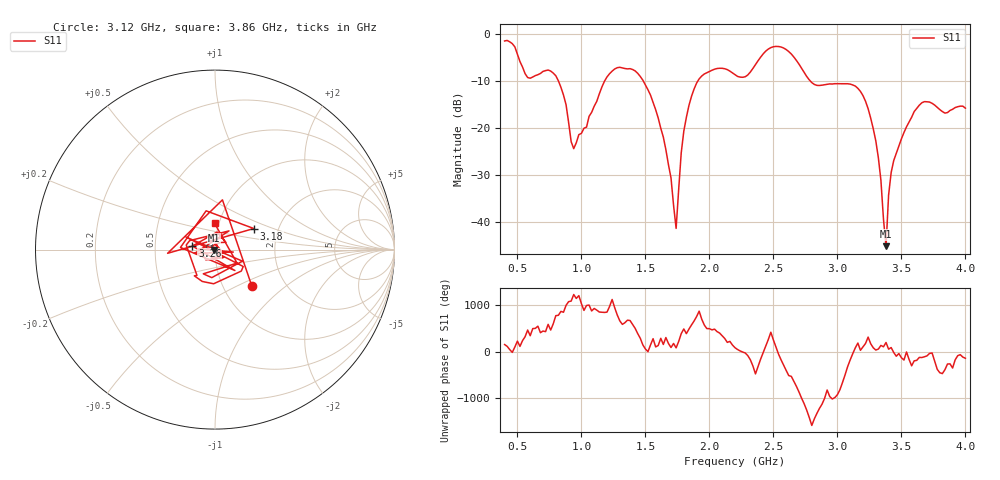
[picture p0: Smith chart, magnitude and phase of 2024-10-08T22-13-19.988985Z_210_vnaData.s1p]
! Created with skrf (http://scikit-rf.org).
# Hz S RI R 50.0
!freq ReS11 ImS11
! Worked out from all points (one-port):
!   181 points, 400 MHz to 4 GHz, reference 50 ohm
!   lowest |S11| = -45.2 dB at 3.38 GHz (marker M1), VSWR 1.01, Z = 49.5 - j0.156 ohm
!   |S11| at or under -10 dB: 821.1 MHz to 1.181 GHz (359.5 MHz wide, 35.9 % of centre); 1.484 GHz to 1.909 GHz (424.9 MHz wide, 25 % of centre); 2.79 GHz to end of sweep
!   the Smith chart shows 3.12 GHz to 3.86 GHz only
!   S11 on the Smith chart (normalised r, x): 3.12 GHz: 1.36, -0.60; 3.18 GHz: 1.50, +0.37; 3.26 GHz: 0.78, +0.03; 3.86 GHz: 0.95, +0.28
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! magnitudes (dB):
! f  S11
! 400 MHz  -1.4
! 580 MHz  -9.2
! 760 MHz  -7.8
! 860 MHz  -13.0
! 940 MHz  -24.4
! 1.3 GHz  -7.0
! 1.44 GHz  -8.3
! 1.58 GHz  -16.1
! 1.7 GHz  -30.7
! 1.74 GHz  -41.4
! 1.76 GHz  -33.1
! 1.8 GHz  -20.7
! 1.9 GHz  -10.4
! 2.2 GHz  -8.6
! 2.5 GHz  -2.7
! 2.66 GHz  -4.9
! 2.82 GHz  -10.7
! 3.1 GHz  -10.6
! 3.12 GHz  -10.8
! 3.18 GHz  -12.2
! 3.26 GHz  -17.9
! 3.32 GHz  -26.3
! 3.38 GHz  -45.2
! 3.42 GHz  -29.5
! 3.56 GHz  -18.7
! 3.68 GHz  -14.4
! 3.86 GHz  -16.7
! 4 GHz  -15.8
